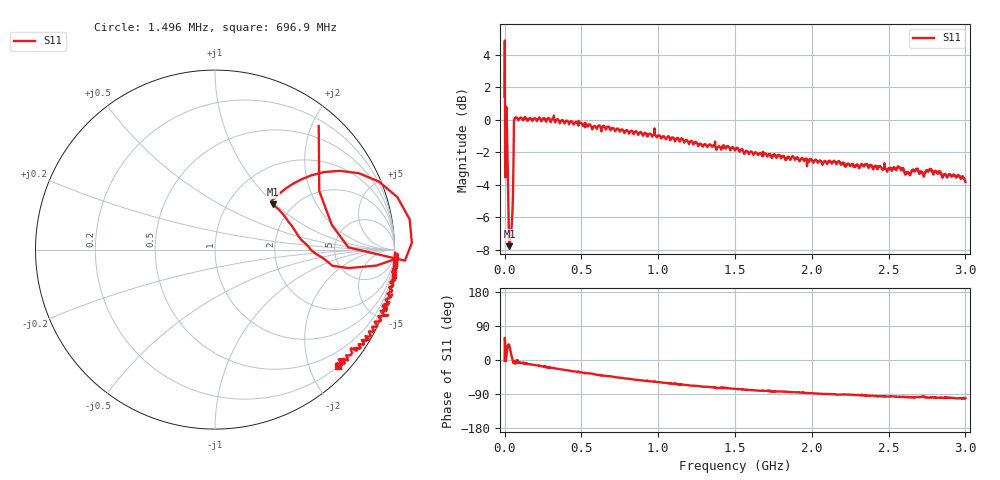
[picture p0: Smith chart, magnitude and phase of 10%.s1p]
# HZ S RI R 50
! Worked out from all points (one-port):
!   2020 points, 10 kHz to 3 GHz, reference 50 ohm
!   lowest |S11| = -7.8 dB at 31.21 MHz (marker M1), VSWR 2.38, Z = 79.6 + j48.1 ohm
!   |S11| at or under -10 dB: nowhere
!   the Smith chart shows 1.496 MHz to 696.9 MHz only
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10000  1.179 -0.0454
5953516  0.6509 0.1373
1.635467e7  0.8009 0.4256
1.784055e7  0.6973 0.4388
1.932643e7  0.6086 0.432
2.378406e7  0.4289 0.3636
2.675582e7  0.3594 0.3127
3.121346e7  0.322 0.2518
3.715698e7  0.384 0.1909
4.310049e7  0.4381 0.1169
5.350164e7  0.5644 -0.025
6.39028e7  1.003 -0.075
7.133219e7  1.014 -0.0605
7.578983e7  1.017 -0.0237
2.392365e8  0.9508 -0.2783
3.759374e8  0.9029 -0.4294
6.211074e8  0.7332 -0.6161
7.503789e8  0.6302 -0.6712
1.126306e9  0.3874 -0.7864
1.386335e9  0.2333 -0.7898
1.500748e9  0.1951 -0.7817
1.662709e9  0.121 -0.7795
1.875189e9  0.0709 -0.7696
2.251117e9  -0.0209 -0.7208
2.570581e9  -0.0932 -0.7086
2.625558e9  -0.0968 -0.6837
2.768203e9  -0.1122 -0.697
3e9  -0.1214 -0.633
